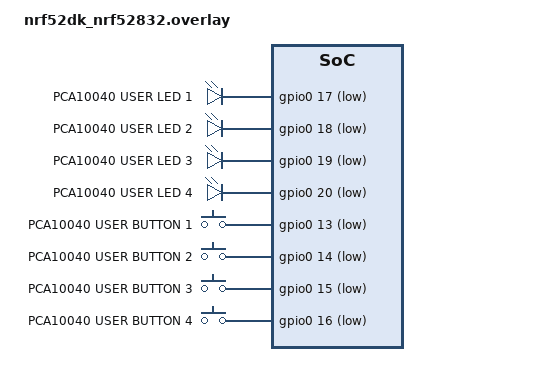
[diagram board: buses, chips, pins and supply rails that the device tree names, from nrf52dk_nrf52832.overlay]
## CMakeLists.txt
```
cmake_minimum_required(VERSION 3.16.0)
find_package(Zephyr REQUIRED HINTS $ENV{ZEPHYR_BASE})
project(atcmd_led)
target_sources(app PRIVATE src/main.c)
```

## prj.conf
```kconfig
# LOG module configuration
CONFIG_LOG=y
CONFIG_LOG_BACKEND_UART=n
CONFIG_LOG_BACKEND_RTT=y

# Enabling the GPIO module
CONFIG_GPIO=y

# Enabling the UART module
CONFIG_SERIAL=y
CONFIG_UART_ASYNC_API=y
```

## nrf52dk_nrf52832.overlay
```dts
// To get started, press Ctrl+Space to bring up the completion menu and view the available nodes.

// You can also use the buttons in the sidebar to perform actions on nodes.
// Actions currently available include:

// * Enabling / disabling the node
// * Adding the bus to a bus
// * Removing the node
// * Connecting ADC channels

// For more help, browse the DeviceTree documentation at https://docs.zephyrproject.org/latest/guides/dts/index.html
// You can also visit the nRF DeviceTree extension documentation at https://nrfconnect.github.io/vscode-nrf-connect/devicetree/nrfdevicetree.html
/{
    userleds{
        compatible = "gpio-leds";

        ld1:ld1{
            gpios = < &gpio0 17 GPIO_ACTIVE_LOW >;
            label = "PCA10040 USER LED 1";
        };

        ld2:ld2{
            gpios = < &gpio0 18 GPIO_ACTIVE_LOW >;
            label = "PCA10040 USER LED 2";
        };

        ld3:ld3{
            gpios = < &gpio0 19 GPIO_ACTIVE_LOW >;
            label = "PCA10040 USER LED 3";
        };

        ld4:ld4{
            gpios = < &gpio0 20 GPIO_ACTIVE_LOW >;
            label = "PCA10040 USER LED 4";
        };

    };

    userbuttons{
        compatible = "gpio-keys";

        btn1:btn1{
            gpios = < &gpio0 13 GPIO_ACTIVE_LOW >;
            label = "PCA10040 USER BUTTON 1";
        };

        btn2:btn2{
            gpios = < &gpio0 14 GPIO_ACTIVE_LOW >;
            label = "PCA10040 USER BUTTON 2";
        };

        btn3:btn3{
            gpios = < &gpio0 15 GPIO_ACTIVE_LOW >;
            label = "PCA10040 USER BUTTON 3";
        };

        btn4:btn4{
            gpios = < &gpio0 16 GPIO_ACTIVE_LOW >;
            label = "PCA10040 USER BUTTON 4";
        };
    };

    aliases {
        // LEDs
        ld1=&ld1;
        ld2=&ld2;
        ld3=&ld3;
        ld4=&ld4;

        //Buttons
        btn1=&btn1;
        btn2=&btn2;
        btn3=&btn3;
        btn4=&btn4;

    };
};
```

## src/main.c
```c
#include <stdio.h>

#include <zephyr/kernel.h>
#include <zephyr/logging/log.h>

#include <zephyr/drivers/gpio.h>
#include <zephyr/drivers/uart.h>

LOG_MODULE_REGISTER(main, LOG_LEVEL_DBG);

const struct gpio_dt_spec ledList[4] = {
    GPIO_DT_SPEC_GET(DT_ALIAS(ld1),gpios),
    GPIO_DT_SPEC_GET(DT_ALIAS(ld2),gpios),
    GPIO_DT_SPEC_GET(DT_ALIAS(ld3),gpios),
    GPIO_DT_SPEC_GET(DT_ALIAS(ld4),gpios),
};

const struct gpio_dt_spec btnList[4] = {
    GPIO_DT_SPEC_GET(DT_ALIAS(btn1), gpios),
    GPIO_DT_SPEC_GET(DT_ALIAS(btn2), gpios),
    GPIO_DT_SPEC_GET(DT_ALIAS(btn3), gpios),
    GPIO_DT_SPEC_GET(DT_ALIAS(btn4), gpios),
};

const struct uart_config uartConfig = {
    .baudrate=115200,
    .data_bits=UART_CFG_DATA_BITS_8,
    .flow_ctrl=UART_CFG_FLOW_CTRL_NONE,
    .parity=UART_CFG_PARITY_NONE,
    .stop_bits=UART_CFG_STOP_BITS_1
};

const struct device *uartDev = DEVICE_DT_GET(DT_NODELABEL(uart0));

void serial_comm_cb(const struct device *dev, 
                    struct uart_event *evt,
                    void *user_data)
{
    switch (evt->type)
    {
    case UART_TX_DONE:
        break;

    case UART_TX_ABORTED:
        break;

    case UART_RX_RDY:
        break;

    case UART_RX_BUF_REQUEST:
        break;

    case UART_RX_BUF_RELEASED:
        break;

    case UART_RX_DISABLED:
        break;

    case UART_RX_STOPPED:
        break;
    }
}

static int led_init(void)
{
    for(uint8_t i=0; i<4; i++)
    {
        if(!device_is_ready(ledList[i].port))
        {
            LOG_ERR("Error in the initialization of the LED %d",i);
            return 1;
        }

        gpio_pin_configure_dt(&ledList[i], (GPIO_OUTPUT | GPIO_PUSH_PULL));
    }
    return 0;
}

static int buttons_init(void)
{
    for(uint8_t i=0; i<4; i++)
    {
        if(!device_is_ready(btnList[i].port))
        {
            LOG_ERR("Error in the initialization of the Button %d",i);
            return 1;
        }

        gpio_pin_configure_dt(&btnList[i], (GPIO_INPUT | GPIO_PULL_UP));
    }

    return 0;
}

static int serial_comm_init(void)
{
    if(!device_is_ready(uartDev))
    {
        LOG_ERR("Error in the initialization of the UART0");
        return 1;
    }

    if( uart_configure(uartDev, &uartConfig) < 0)
    {
        LOG_ERR("Error in the configuration of the UART0");
        return 1;
    }

    if( uart_callback_set(uartDev, serial_comm_cb, NULL) < 0)
    {
        LOG_ERR("Error setting the UART callback function.");
        return 1;
    }
    return 0;
}

int main(void)
{
    if(led_init())
        return 1;   //Error

    if(buttons_init())
        return 1;   //Error

    if(serial_comm_init())
        return 1;

    while(1)
    {
        k_msleep(1000);
    }
    
    return 1;
}
```
